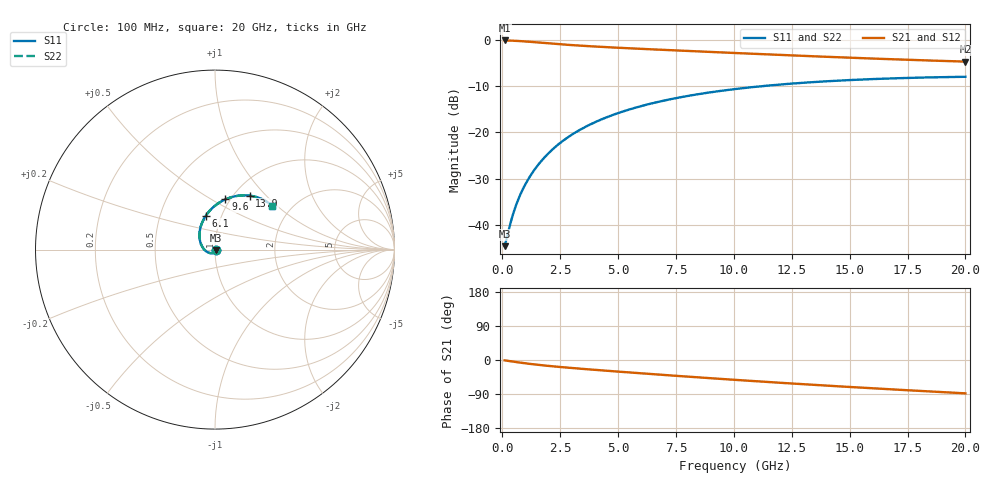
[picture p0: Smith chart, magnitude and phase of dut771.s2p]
! Touchstone file exported from HFSS 2024.1.0
!  File:  C:/UserFiles/LocalFiles/RDL_TSV_Batchsim/temp_RDL_TSV_771_1779902725.aedt
!  Generated:  01:40:14 AM May 28, 2026
!  Design:  RDL_TSV
!  Project:  temp_RDL_TSV_771_1779902725
!  Setup:  Setup1
!  Solution:  Sweep
! Variables:
!  dtsv = 9.97um
!  hbump = 3um
!  htsv = 61.76um
!  ldown = 105.59um
!  lrdl = 178.64um
!  p = 40
!  p1 = 58.74um
!  rhole = 10um
!  subl = 1031.33um
!  t = 450um
!  tdown = 2.26um
!  trdl = 4.01um
!  viad = 10um
!  wdown = 29.06um
!  wrdl = 24.88um
!  xbump = 18um
# GHz S MA R 50.000000
! Terminal data exported
! Port[1] = TM1_1_T1
! Port[2] = TM1_4_T1
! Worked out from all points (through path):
!   200 points, 100 MHz to 20 GHz, reference 50 ohm
!   highest |S21| = -0.05 dB at 100 MHz (marker M1); lowest = -4.6 dB at 20 GHz (marker M2)
!   group delay of S21, straight-line fit = 11.5 ps
!   lowest |S11| = -44.7 dB at 100 MHz (marker M3), VSWR 1.01, Z = 50.5 - j0.287 ohm
!   |S11| at or under -10 dB: start of sweep to 11.15 GHz
!   |S22| runs from -44.7 to -7.9 dB; largest |S21 - S12| = 4.2e-12
!   S11 on the Smith chart (normalised r, x): 100 MHz: 1.01, -0.01; 6.1 GHz: 0.84, +0.33; 9.6 GHz: 0.95, +0.58; 13.9 GHz: 1.18, +0.81; 20 GHz: 1.61, +0.93
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0.1  0.005835 -29.1  0.9943 -0.9  0.9943 -0.9  0.005835 -29.1
! Gamma 0 0 0 0
! Port Impedance 50 0 50 0
0.4  0.01143 -83.0  0.9897 -3.7  0.9897 -3.7  0.01143 -83.0
0.6  0.01638 -103.5  0.9844 -5.5  0.9844 -5.5  0.01638 -103.5
0.7  0.01902 -111.9  0.9812 -6.3  0.9812 -6.3  0.01902 -111.9
0.9  0.02457 -126.4  0.9738 -8.0  0.9738 -8.0  0.02457 -126.4
1.1  0.03043 -138.9  0.9656 -9.5  0.9656 -9.5  0.03043 -138.9
1.3  0.03656 -149.9  0.9568 -11.0  0.9568 -11.0  0.03655 -149.9
1.7  0.04949 -168.4  0.9386 -13.8  0.9386 -13.8  0.04947 -168.4
2.2  0.06648 173.2  0.9165 -16.8  0.9165 -16.8  0.06644 173.2
2.8  0.0874 156.0  0.8928 -20.1  0.8928 -20.1  0.08734 156.0
3.5  0.1118 140.6  0.8692 -23.6  0.8692 -23.6  0.1117 140.6
4.1  0.1323 130.0  0.8517 -26.5  0.8517 -26.5  0.1322 130.0
4.7  0.1522 121.2  0.8361 -29.3  0.8361 -29.3  0.1521 121.2
6.1  0.196 105.0  0.804 -35.6  0.804 -35.6  0.1959 105.0
6.8  0.2163 98.5  0.7893 -38.7  0.7893 -38.7  0.2161 98.5
8.1  0.2509 88.2  0.7633 -44.3  0.7633 -44.3  0.2507 88.2
9.6  0.2858 78.3  0.735 -50.6  0.735 -50.6  0.2855 78.3
10.1  0.2962 75.4  0.7258 -52.6  0.7258 -52.6  0.296 75.4
13.4  0.3511 59.3  0.6702 -65.4  0.6702 -65.4  0.3508 59.3
13.9  0.3574 57.3  0.6625 -67.2  0.6625 -67.2  0.3571 57.2
16.7  0.3846 47.0  0.6235 -77.1  0.6235 -77.1  0.3842 47.0
20  0.4011 37.3  0.5863 -88.0  0.5863 -88.0  0.4008 37.3
